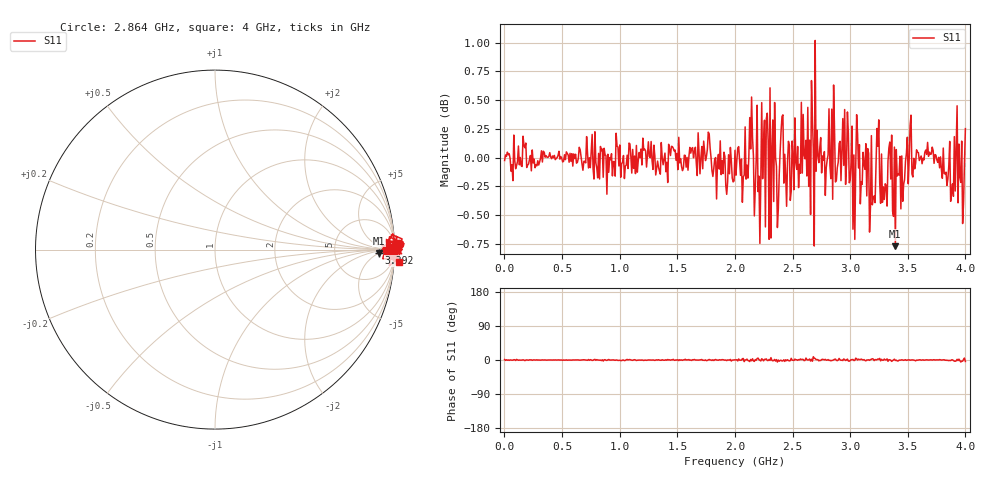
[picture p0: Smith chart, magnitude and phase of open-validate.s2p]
!Created with skrf (http://scikit-rf.org).
# GHz S DB R 50.0
!freq dBS11 angS11
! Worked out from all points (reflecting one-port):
!   501 points, 1 MHz to 4 GHz, reference 50 ohm
!   lowest |S11| = -0.8 dB at 3.392 GHz (marker M1), VSWR 22.49, Z = 1.07e+03 - j249 ohm
!   phase of S11 starts at 1 deg and turns -5 deg over the sweep
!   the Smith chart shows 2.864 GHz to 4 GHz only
!   S11 on the Smith chart (normalised r, x): 2.864 GHz: -31, +36; 3.392 GHz: 21, -5; 4 GHz: -10, -25
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0.001  -0.03 1.3
0.504874  -0.04 -0.7
1.00075  0.11 -0.7
1.072732  -0.10 0.3
1.504624  -0.11 0.8
2.0005  0.06 0.5
2.128468  0.35 -4.0
2.192452  0.46 3.9
2.288428  0.14 -1.3
2.368408  -0.61 -5.3
2.4004  0.23 -0.6
2.504374  0.02 -0.6
2.632342  0.44 -0.2
2.656336  -0.50 -2.7
2.696326  1.02 3.8
2.728318  -0.04 -2.2
2.864284  0.24 1.8
3.00025  -0.20 -1.5
3.032242  0.02 -1.3
3.064234  0.20 -0.1
3.128218  -0.10 -1.0
3.208198  -0.33 -1.6
3.24019  0.10 2.7
3.392152  -0.77 -1.2
3.504124  -0.23 0.1
3.936016  -0.39 -1.6
3.968008  0.14 -3.1
4  0.25 -3.9
